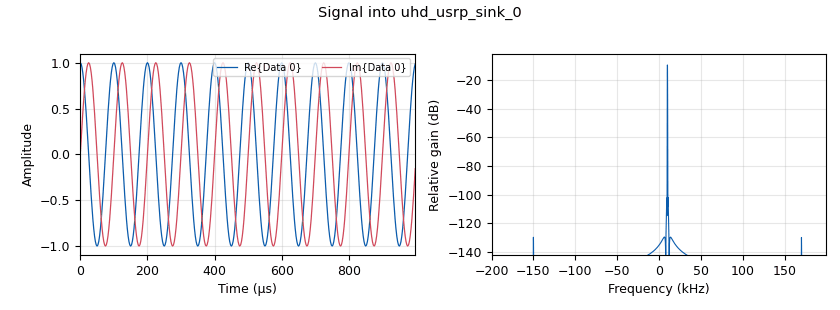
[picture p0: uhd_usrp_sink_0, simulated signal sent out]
options:
  parameters:
    author: keremenhos
    generate_options: qt_gui
    id: test2
    output_language: python
    title: USRP Test
  states: {}

blocks:
- name: samp_rate
  id: variable
  parameters:
    value: '400000'
  states: {}
- name: analog_sig_source_x_0
  id: analog_sig_source_x
  parameters:
    amp: '1'
    freq: '10000'
    offset: '0'
    phase: '0'
    samp_rate: samp_rate
    type: complex
    waveform: analog.GR_COS_WAVE
  states: {}
- name: blocks_null_sink_0
  id: blocks_null_sink
  parameters:
    type: complex
  states: {state: disabled}
- name: qtgui_sink_x_0
  id: qtgui_sink_x
  parameters:
    bw: samp_rate
    fc: '0'
    fftsize: '1024'
    type: complex
    wintype: firdes.WIN_BLACKMAN_hARRIS
  states: {}
- name: uhd_usrp_sink_0
  id: uhd_usrp_sink
  parameters:
    ant0: TX/RX
    center_freq0: '0'
    dev_args: '""'
    gain0: '0'
    len_tag_name: ''
    norm_gain0: 'False'
    samp_rate: samp_rate
    sync: none
    type: fc32
  states: {}
- name: uhd_usrp_source_0
  id: uhd_usrp_source
  parameters:
    ant0: ''
    center_freq0: '0'
    dc_offs_enb0: '""'
    dev_args: '""'
    gain0: '0'
    iq_imbal_enb0: '""'
    norm_gain0: 'False'
    samp_rate: samp_rate
    sync: none
    type: fc32
  states: {}

connections:
- [analog_sig_source_x_0, '0', uhd_usrp_sink_0, '0']
- [uhd_usrp_source_0, '0', qtgui_sink_x_0, '0']

metadata:
  file_format: 1
